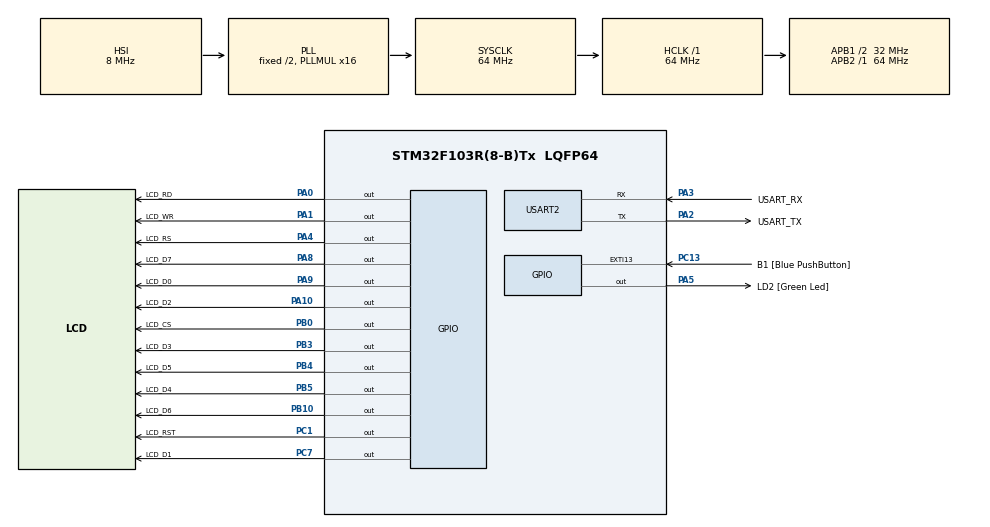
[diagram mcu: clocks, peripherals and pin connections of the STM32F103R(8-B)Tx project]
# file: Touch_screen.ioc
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Mcu.Family=STM32F1
Mcu.Name=STM32F103R(8-B)Tx
Mcu.Package=LQFP64
NVIC.EXTI15_10_IRQn=true\:0\:0\:false\:false\:true\:true\:true\:true
NVIC.PriorityGroup=NVIC_PRIORITYGROUP_4
PA0-WKUP.GPIO_Label=LCD_RD
PA0-WKUP.Signal=GPIO_Output
PA1.GPIO_Label=LCD_WR
PA1.Signal=GPIO_Output
PA10.GPIO_Label=LCD_D2
PA10.Signal=GPIO_Output
PA13.GPIO_Label=TMS
PA13.Mode=Serial_Wire
PA13.Signal=SYS_JTMS-SWDIO
PA14.GPIO_Label=TCK
PA14.Mode=Serial_Wire
PA14.Signal=SYS_JTCK-SWCLK
PA2.GPIO_Label=USART_TX
PA2.GPIO_Mode=GPIO_MODE_AF_PP
PA2.GPIO_PuPd=GPIO_NOPULL
PA2.GPIO_Speed=GPIO_SPEED_FREQ_LOW
PA2.Mode=Asynchronous
PA2.Signal=USART2_TX
PA3.GPIO_Label=USART_RX
PA3.GPIO_Mode=GPIO_MODE_AF_PP
PA3.GPIO_PuPd=GPIO_NOPULL
PA3.GPIO_Speed=GPIO_SPEED_FREQ_LOW
PA3.Mode=Asynchronous
PA3.Signal=USART2_RX
PA4.GPIO_Label=LCD_RS
PA4.Signal=GPIO_Output
PA5.GPIO_Label=LD2 [Green Led]
PA5.GPIO_ModeDefaultOutputPP=GPIO_MODE_OUTPUT_PP
PA5.GPIO_PuPd=GPIO_NOPULL
PA5.GPIO_Speed=GPIO_SPEED_FREQ_LOW
PA5.Signal=GPIO_Output
PA8.GPIO_Label=LCD_D7
PA8.Signal=GPIO_Output
PA9.GPIO_Label=LCD_D0
PA9.Signal=GPIO_Output
PB0.GPIO_Label=LCD_CS
PB0.Signal=GPIO_Output
PB10.GPIO_Label=LCD_D6
PB10.Signal=GPIO_Output
PB3.GPIO_Label=LCD_D3
PB3.Signal=GPIO_Output
PB4.GPIO_Label=LCD_D5
PB4.Signal=GPIO_Output
PB5.GPIO_Label=LCD_D4
PB5.Signal=GPIO_Output
PC1.GPIO_Label=LCD_RST
PC1.Signal=GPIO_Output
PC13-TAMPER-RTC.GPIO_Label=B1 [Blue PushButton]
PC13-TAMPER-RTC.GPIO_PuPd=GPIO_NOPULL
PC13-TAMPER-RTC.Signal=GPXTI13
PC14-OSC32_IN.Signal=RCC_OSC32_IN
PC15-OSC32_OUT.Signal=RCC_OSC32_OUT
PC7.GPIO_Label=LCD_D1
PC7.Signal=GPIO_Output
PD0-OSC_IN.Signal=RCC_OSC_IN
PD1-OSC_OUT.Signal=RCC_OSC_OUT
ProjectManager.HeapSize=0x200
ProjectManager.StackSize=0x400
ProjectManager.TargetToolchain=STM32CubeIDE
RCC.AHBFreq_Value=64000000
RCC.APB1CLKDivider=RCC_HCLK_DIV2
RCC.APB1Freq_Value=32000000
RCC.APB1TimFreq_Value=64000000
RCC.APB2Freq_Value=64000000
RCC.APB2TimFreq_Value=64000000
RCC.HCLKFreq_Value=64000000
RCC.PLLMUL=RCC_PLL_MUL16
RCC.RTCClockSelection=RCC_RTCCLKSOURCE_LSE
RCC.SYSCLKFreq_VALUE=64000000
RCC.SYSCLKSource=RCC_SYSCLKSOURCE_PLLCLK
RCC.USBFreq_Value=64000000
USART2.VirtualMode=VM_ASYNC
board=NUCLEO-F103RB

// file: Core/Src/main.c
/* USER CODE BEGIN Header */
/**
 ******************************************************************************
 * @file           : main.c
 * @brief          : Main program body
 ******************************************************************************
 * @attention
 *
 * Copyright (c) 2025 STMicroelectronics.
 * All rights reserved.
 *
 * This software is licensed under terms that can be found in the LICENSE file
 * in the root directory of this software component.
 * If no LICENSE file comes with this software, it is provided AS-IS.
 *
 ******************************************************************************
 */
/* USER CODE END Header */
#include "main.h"

/* USER CODE BEGIN Includes */
#include "ili9341.h"
#include <stdio.h>
/* USER CODE END Includes */

UART_HandleTypeDef huart2;

void SystemClock_Config(void);
static void MX_GPIO_Init(void);
static void MX_USART2_UART_Init(void);

int main(void)
{

  /* MCU Configuration--------------------------------------------------------*/

  /* Reset of all peripherals, Initializes the Flash interface and the Systick. */
  HAL_Init();

  /* Configure the system clock */
  SystemClock_Config();

  /* Initialize all configured peripherals */
  MX_GPIO_Init();
  MX_USART2_UART_Init();
  /* USER CODE BEGIN 2 */
	/* Initialize ILI9341 LCD */
	ILI9341_Init();

	/* Demo program */
	ILI9341_Fill(BLACK);

	// Simple font test - 큰 글씨로 테스트
	ILI9341_DrawString(10, 10, "HELLO", WHITE, BLACK);
	ILI9341_DrawString(10, 25, "WORLD", RED, BLACK);
	ILI9341_DrawString(10, 40, "12345", GREEN, BLACK);
	ILI9341_DrawString(10, 55, "ABCDE", BLUE, BLACK);

	// 개별 문자 테스트
	ILI9341_DrawChar(10, 75, 'A', YELLOW, BLACK);
	ILI9341_DrawChar(20, 75, 'B', YELLOW, BLACK);
	ILI9341_DrawChar(30, 75, 'C', YELLOW, BLACK);

	// Original demo content (moved down)
	ILI9341_DrawString(10, 100, "STM32F103 + ILI9341", WHITE, BLACK);
	ILI9341_DrawString(10, 115, "Parallel Interface", CYAN, BLACK);

	// Draw some shapes (moved down to accommodate font test)
	ILI9341_DrawRect(10, 130, 100, 60, RED);
	ILI9341_FillRect(130, 130, 80, 60, BLUE);

	ILI9341_DrawCircle(60, 220, 30, GREEN);
	ILI9341_DrawCircle(180, 220, 25, MAGENTA);

	// Draw lines
	ILI9341_DrawLine(10, 270, 230, 270, WHITE);

	// Status info
	ILI9341_DrawString(10, 290, "Status: Ready", GREEN, BLACK);

	uint16_t counter = 0;
	char counter_str[20];
  /* USER CODE END 2 */

  /* Infinite loop */
  /* USER CODE BEGIN WHILE */
	while (1) {
		sprintf(counter_str, "CNT:%d", counter);
		ILI9341_FillRect(120, 290, 80, 10, BLACK); // Clear previous counter
		ILI9341_DrawString(120, 290, counter_str, YELLOW, BLACK);
		counter++;
		HAL_Delay(1000);
    /* USER CODE END WHILE */

	}
}

void SystemClock_Config(void)
{
  RCC_OscInitTypeDef RCC_OscInitStruct = {0};
  RCC_ClkInitTypeDef RCC_ClkInitStruct = {0};

  /** Initializes the RCC Oscillators according to the specified parameters
  * in the RCC_OscInitTypeDef structure.
  */
  RCC_OscInitStruct.OscillatorType = RCC_OSCILLATORTYPE_HSI;
  RCC_OscInitStruct.HSIState = RCC_HSI_ON;
  RCC_OscInitStruct.HSICalibrationValue = RCC_HSICALIBRATION_DEFAULT;
  RCC_OscInitStruct.PLL.PLLState = RCC_PLL_ON;
  RCC_OscInitStruct.PLL.PLLSource = RCC_PLLSOURCE_HSI_DIV2;
  RCC_OscInitStruct.PLL.PLLMUL = RCC_PLL_MUL16;
  if (HAL_RCC_OscConfig(&RCC_OscInitStruct) != HAL_OK)
  {
    Error_Handler();
  }

  /** Initializes the CPU, AHB and APB buses clocks
  */
  RCC_ClkInitStruct.ClockType = RCC_CLOCKTYPE_HCLK|RCC_CLOCKTYPE_SYSCLK
                              |RCC_CLOCKTYPE_PCLK1|RCC_CLOCKTYPE_PCLK2;
  RCC_ClkInitStruct.SYSCLKSource = RCC_SYSCLKSOURCE_PLLCLK;
  RCC_ClkInitStruct.AHBCLKDivider = RCC_SYSCLK_DIV1;
  RCC_ClkInitStruct.APB1CLKDivider = RCC_HCLK_DIV2;
  RCC_ClkInitStruct.APB2CLKDivider = RCC_HCLK_DIV1;

  if (HAL_RCC_ClockConfig(&RCC_ClkInitStruct, FLASH_LATENCY_2) != HAL_OK)
  {
    Error_Handler();
  }
}

static void MX_USART2_UART_Init(void)
{

  huart2.Instance = USART2;
  huart2.Init.BaudRate = 115200;
  huart2.Init.WordLength = UART_WORDLENGTH_8B;
  huart2.Init.StopBits = UART_STOPBITS_1;
  huart2.Init.Parity = UART_PARITY_NONE;
  huart2.Init.Mode = UART_MODE_TX_RX;
  huart2.Init.HwFlowCtl = UART_HWCONTROL_NONE;
  huart2.Init.OverSampling = UART_OVERSAMPLING_16;
  if (HAL_UART_Init(&huart2) != HAL_OK)
  {
    Error_Handler();
  }

}

static void MX_GPIO_Init(void)
{
  GPIO_InitTypeDef GPIO_InitStruct = {0};

  /* GPIO Ports Clock Enable */
  __HAL_RCC_GPIOC_CLK_ENABLE();
  __HAL_RCC_GPIOD_CLK_ENABLE();
  __HAL_RCC_GPIOA_CLK_ENABLE();
  __HAL_RCC_GPIOB_CLK_ENABLE();

  /*Configure GPIO pin Output Level */
  HAL_GPIO_WritePin(GPIOC, LCD_RST_Pin|LCD_D1_Pin, GPIO_PIN_RESET);

  /*Configure GPIO pin Output Level */
  HAL_GPIO_WritePin(GPIOA, LCD_RD_Pin|LCD_WR_Pin|LCD_RS_Pin|LD2_Pin
                          |LCD_D7_Pin|LCD_D0_Pin|LCD_D2_Pin, GPIO_PIN_RESET);

  /*Configure GPIO pin Output Level */
  HAL_GPIO_WritePin(GPIOB, LCD_CS_Pin|LCD_D6_Pin|LCD_D3_Pin|LCD_D5_Pin
                          |LCD_D4_Pin, GPIO_PIN_RESET);

  /*Configure GPIO pin : B1_Pin */
  GPIO_InitStruct.Pin = B1_Pin;
  GPIO_InitStruct.Mode = GPIO_MODE_IT_RISING;
  GPIO_InitStruct.Pull = GPIO_NOPULL;
  HAL_GPIO_Init(B1_GPIO_Port, &GPIO_InitStruct);

  /*Configure GPIO pins : LCD_RST_Pin LCD_D1_Pin */
  GPIO_InitStruct.Pin = LCD_RST_Pin|LCD_D1_Pin;
  GPIO_InitStruct.Mode = GPIO_MODE_OUTPUT_PP;
  GPIO_InitStruct.Pull = GPIO_NOPULL;
  GPIO_InitStruct.Speed = GPIO_SPEED_FREQ_LOW;
  HAL_GPIO_Init(GPIOC, &GPIO_InitStruct);

  /*Configure GPIO pins : LCD_RD_Pin LCD_WR_Pin LCD_RS_Pin LD2_Pin
                           LCD_D7_Pin LCD_D0_Pin LCD_D2_Pin */
  GPIO_InitStruct.Pin = LCD_RD_Pin|LCD_WR_Pin|LCD_RS_Pin|LD2_Pin
                          |LCD_D7_Pin|LCD_D0_Pin|LCD_D2_Pin;
  GPIO_InitStruct.Mode = GPIO_MODE_OUTPUT_PP;
  GPIO_InitStruct.Pull = GPIO_NOPULL;
  GPIO_InitStruct.Speed = GPIO_SPEED_FREQ_LOW;
  HAL_GPIO_Init(GPIOA, &GPIO_InitStruct);

  /*Configure GPIO pins : LCD_CS_Pin LCD_D6_Pin LCD_D3_Pin LCD_D5_Pin
                           LCD_D4_Pin */
  GPIO_InitStruct.Pin = LCD_CS_Pin|LCD_D6_Pin|LCD_D3_Pin|LCD_D5_Pin
                          |LCD_D4_Pin;
  GPIO_InitStruct.Mode = GPIO_MODE_OUTPUT_PP;
  GPIO_InitStruct.Pull = GPIO_NOPULL;
  GPIO_InitStruct.Speed = GPIO_SPEED_FREQ_LOW;
  HAL_GPIO_Init(GPIOB, &GPIO_InitStruct);

  /* EXTI interrupt init*/
  HAL_NVIC_SetPriority(EXTI15_10_IRQn, 0, 0);
  HAL_NVIC_EnableIRQ(EXTI15_10_IRQn);

}

void Error_Handler(void)
{
	__disable_irq();
	while (1) {
	}
}
